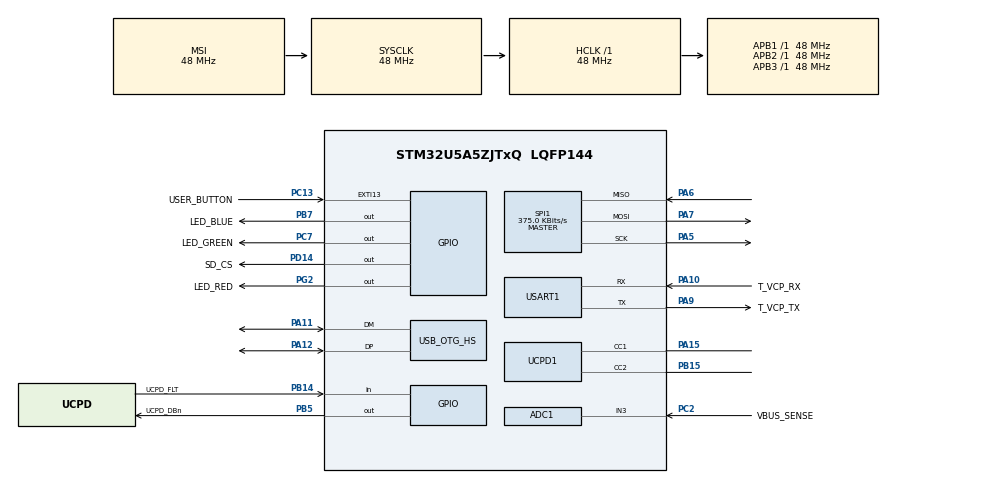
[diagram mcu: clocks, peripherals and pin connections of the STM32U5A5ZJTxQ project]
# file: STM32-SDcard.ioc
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ADC1.Channel-0\#ChannelRegularConversion=ADC_CHANNEL_3
ADC1.ContinuousConvMode=DISABLE
ADC1.EnableAnalogWatchDog1=false
ADC1.GainCompensation=0
ADC1.NbrOfConversionFlag=1
ADC1.OffsetNumber-0\#ChannelRegularConversion=ADC_OFFSET_NONE
ADC1.Rank-0\#ChannelRegularConversion=1
ADC1.Resolution=ADC_RESOLUTION_14B
ADC1.SamplingTime-0\#ChannelRegularConversion=ADC_SAMPLETIME_391CYCLES_5
ADC1.master=1
CORTEX_M33_NS.userName=CORTEX_M33
Mcu.Family=STM32U5
Mcu.Name=STM32U5A5ZJTxQ
Mcu.Package=LQFP144
NVIC.PriorityGroup=NVIC_PRIORITYGROUP_4
PA10.GPIO_Label=T_VCP_RX
PA10.Mode=Asynchronous
PA10.Signal=USART1_RX
PA11.Mode=Internal_Phy_Host
PA11.Signal=USB_OTG_HS_DM
PA12.Mode=Internal_Phy_Host
PA12.Signal=USB_OTG_HS_DP
PA13\ (JTMS/SWDIO).Mode=Trace_Asynchronous_SW
PA13\ (JTMS/SWDIO).Signal=DEBUG_JTMS-SWDIO
PA14\ (JTCK/SWCLK).Mode=Trace_Asynchronous_SW
PA14\ (JTCK/SWCLK).Signal=DEBUG_JTCK-SWCLK
PA15\ (JTDI).Mode=Sink_AllSignals
PA15\ (JTDI).Signal=UCPD1_CC1
PA5.GPIO_PuPd=GPIO_NOPULL
PA5.Mode=Full_Duplex_Master
PA5.Signal=SPI1_SCK
PA6.GPIO_PuPd=GPIO_NOPULL
PA6.Mode=Full_Duplex_Master
PA6.Signal=SPI1_MISO
PA7.GPIO_PuPd=GPIO_NOPULL
PA7.Mode=Full_Duplex_Master
PA7.Signal=SPI1_MOSI
PA9.GPIO_Label=T_VCP_TX
PA9.Mode=Asynchronous
PA9.Signal=USART1_TX
PB14.GPIO_Label=UCPD_FLT
PB14.Signal=GPIO_Input
PB15.Mode=Sink_AllSignals
PB15.Signal=UCPD1_CC2
PB3\ (JTDO/TRACESWO).Mode=Trace_Asynchronous_SW
PB3\ (JTDO/TRACESWO).Signal=DEBUG_JTDO-SWO
PB5.GPIO_Label=UCPD_DBn
PB5.Signal=GPIO_Output
PB7.GPIO_Label=LED_BLUE
PB7.GPIO_ModeDefaultOutputPP=GPIO_MODE_OUTPUT_PP
PB7.PinState=GPIO_PIN_RESET
PB7.Signal=GPIO_Output
PC13.GPIO_Label=USER_BUTTON
PC13.Signal=GPXTI13
PC14-OSC32_IN\ (PC14).Mode=LSE-External-Oscillator
PC14-OSC32_IN\ (PC14).Signal=RCC_OSC32_IN
PC15-OSC32_OUT\ (PC15).Mode=LSE-External-Oscillator
PC15-OSC32_OUT\ (PC15).Signal=RCC_OSC32_OUT
PC2.GPIO_Label=VBUS_SENSE
PC2.Mode=IN3-Single-Ended
PC2.Signal=ADC1_IN3
PC7.GPIO_Label=LED_GREEN
PC7.Signal=GPIO_Output
PD14.GPIO_Label=SD_CS
PD14.GPIO_ModeDefaultOutputPP=GPIO_MODE_OUTPUT_PP
PD14.GPIO_PuPd=GPIO_NOPULL
PD14.GPIO_Speed=GPIO_SPEED_FREQ_LOW
PD14.PinState=GPIO_PIN_SET
PD14.Signal=GPIO_Output
PG2.GPIO_Label=LED_RED
PG2.Signal=GPIO_Output
PH0-OSC_IN\ (PH0).Mode=HSE-External-Oscillator
PH0-OSC_IN\ (PH0).Signal=RCC_OSC_IN
PH1-OSC_OUT\ (PH1).Mode=HSE-External-Oscillator
PH1-OSC_OUT\ (PH1).Signal=RCC_OSC_OUT
PWR.PowerMode=PWR_SMPS_SUPPLY
ProjectManager.HeapSize=0x200
ProjectManager.StackSize=0x400
ProjectManager.TargetToolchain=STM32CubeIDE
RCC.ADCFreq_Value=16000000
RCC.AHBFreq_Value=48000000
RCC.APB1Freq_Value=48000000
RCC.APB1TimFreq_Value=48000000
RCC.APB2Freq_Value=48000000
RCC.APB2TimFreq_Value=48000000
RCC.APB3Freq_Value=48000000
RCC.CortexFreq_Value=48000000
RCC.DACCLockSelectionVirtual=RCC_DAC1CLKSOURCE_LSI
RCC.EPOD_VALUE=48000000
RCC.HCLKFreq_Value=48000000
RCC.HSE_VALUE=16000000
RCC.HSI48_VALUE=48000000
RCC.HSI_VALUE=16000000
RCC.LSIDIV_VALUE=32000
RCC.MSIClockRange=RCC_MSIRANGE_0
RCC.MSI_VALUE=48000000
RCC.PLL1P=8
RCC.PLLFRACN=0
RCC.PLLM=3
RCC.PLLN=8
RCC.SYSCLKFreq_VALUE=48000000
RCC.VCOOutputFreq_Value=128000000
SPI1.BaudRatePrescaler=SPI_BAUDRATEPRESCALER_128
SPI1.CalculateBaudRate=375.0 KBits/s
SPI1.DataSize=SPI_DATASIZE_8BIT
SPI1.Direction=SPI_DIRECTION_2LINES
SPI1.Mode=SPI_MODE_MASTER
SPI1.NSSPMode=SPI_NSS_PULSE_DISABLE
SPI1.VirtualType=VM_MASTER
USART1.VirtualMode-Asynchronous=VM_ASYNC
USB_OTG_HS.VirtualMode=Host_HS
VP_ICACHE_VS_ICACHE.Mode=DirectMappedCache
VP_LPBAMQUEUE_VS_QUEUE.Mode=QUEUEMODE
VP_LPBAM_VS_SIG1.Mode=SmartRun
VP_LPBAM_VS_SIG4.Mode=LPDMA1
VP_MEMORYMAP_VS_MEMORYMAP.Mode=CurAppReg
VP_PWR_VS_DBSignals.Mode=DisableDeadBatterySignals
VP_PWR_VS_LPOM.Mode=PowerOptimisation
VP_PWR_VS_SECSignals.Mode=Security/Privilege
VP_PWR_Vdda.Mode=isolationVdda
board=NUCLEO-U5A5ZJ-Q

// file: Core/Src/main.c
/* USER CODE BEGIN Header */
/**
  ******************************************************************************
  * @file           : main.c
  * @brief          : Main program body
  ******************************************************************************
  * @attention
  *
  * Copyright (c) 2023 STMicroelectronics.
  * All rights reserved.
  *
  * This software is licensed under terms that can be found in the LICENSE file
  * in the root directory of this software component.
  * If no LICENSE file comes with this software, it is provided AS-IS.
  *
  ******************************************************************************
  */
/* USER CODE END Header */
#include "main.h"

/* USER CODE BEGIN Includes */
#include <stdio.h>
#include <string.h>
#include <stdarg.h>
#include <time.h>

#include "fatfs.h"
#include "wav_header.h"
/* USER CODE END Includes */

ADC_HandleTypeDef hadc1;

SPI_HandleTypeDef hspi1;

UART_HandleTypeDef huart1;

HCD_HandleTypeDef hhcd_USB_OTG_HS;

void SystemClock_Config(void);
static void SystemPower_Config(void);
static void MX_GPIO_Init(void);
static void MX_ADC1_Init(void);
static void MX_ICACHE_Init(void);
static void MX_UCPD1_Init(void);
static void MX_USART1_UART_Init(void);
static void MX_USB_OTG_HS_HCD_Init(void);
static void MX_MEMORYMAP_Init(void);
static void MX_SPI1_Init(void);
/* USER CODE BEGIN PFP */
void myprintf(const char *fmt, ...);
void header_to_sd(wav_header* header, FIL* fil, UINT* bw);
/* USER CODE END PFP */

/* USER CODE BEGIN 0 */

#define FILTER true

void myprintf(const char *fmt, ...){
	static char buffer[256];
	va_list args;

	va_start(args, fmt);
	vsnprintf(buffer, sizeof(buffer), fmt, args);
	va_end(args);

	int len= strlen(buffer);
	HAL_UART_Transmit(&huart1, (uint8_t*)buffer, len, -1);
}

void header_to_sd(wav_header* header, FIL* fil, UINT* bw){
	myprintf("start writing header");
	f_write(fil, &header->riff_header, 4, bw);
	f_write(fil, &header->wav_size, 4 , bw);
	f_write(fil, &header->wave_header, 4, bw);
	myprintf("finished RIFF header");
	f_write(fil, &header->fmt_header, 4, bw);
	f_write(fil, &header->fmt_chunk_size, 4 , bw);
	f_write(fil, &header->audio_format, 2 , bw);
	f_write(fil, &header->num_channels, 2 , bw);
	f_write(fil, &header->sample_rate, 4 , bw);
	f_write(fil, &header->byte_rate, 4 , bw);
	f_write(fil, &header->sample_alignment, 2 , bw);
	f_write(fil, &header->bit_depth, 2 , bw);
	f_write(fil, header->data_header, 4, bw);
	f_write(fil, &header->data_bytes, 4 , bw);
	myprintf("Finished writing header");
}

/* USER CODE END 0 */

int main(void)
{
  /* USER CODE BEGIN 1 */
    uint16_t count=0;
	  uint32_t readBuf[50000];
	  uint8_t readBuf_8b[50000];
	  uint16_t readBuf_16b[50000];
	  char filename[256];
	  uint16_t raw;
    char msg[10];
    uint8_t header_size=8;
  /* USER CODE END 1 */

  /* MCU Configuration--------------------------------------------------------*/

  /* Reset of all peripherals, Initializes the Flash interface and the Systick. */
  HAL_Init();

  /* Configure the system clock */
  SystemClock_Config();

  /* Configure the System Power */
  SystemPower_Config();

  /* Initialize all configured peripherals */
  MX_GPIO_Init();
  MX_ADC1_Init();
  MX_ICACHE_Init();
  MX_UCPD1_Init();
  MX_USART1_UART_Init();
  MX_USB_OTG_HS_HCD_Init();
  MX_MEMORYMAP_Init();
  MX_SPI1_Init();
  /* USER CODE BEGIN 2 */
  MX_FATFS_Init();
  myprintf("\r\n~ SD card demo ~\r \n\r\n");
  HAL_Delay(1000);

  FATFS FatFs;
  FIL fil;
  FRESULT fres;

  fres= f_mount(&FatFs, "/", 1);
  if(fres!= FR_OK)
  {
	  myprintf("f_mount error (%i) \r\n", fres);
	  while(1);
  }

  DWORD free_clusters, free_sectors, total_sectors;

  FATFS* getFreeFs;

  fres= f_getfree("", &free_clusters, &getFreeFs);
  if (fres != FR_OK) {
	  myprintf("f_getfree error (%i)\r\n",fres);
	  while(1);
  }

  total_sectors = (getFreeFs->n_fatent - 2) * getFreeFs->csize;
  free_sectors = free_clusters * getFreeFs->csize;

  myprintf("SD card stats:\r\n%10lu KiB total drive space.\r\n%10lu KiB available.\r\n", total_sectors / 2, free_sectors / 2);

  bw_filter filt = create_filter(1000, 27027);

  // fres = f_open(&fil, "/write.txt", FA_READ);
    //   if (fres != FR_OK) {
  	// 	myprintf("f_open error (%i)\r\n");
  	// 	while(1);
    //   }
  //   myprintf("I was able to open 'test.txt' for reading!\r\n");
    //   BYTE readBuf[30];

    //   TCHAR* rres = f_gets((TCHAR*)readBuf, 30, &fil);
      //     if(rres != 0) {
    	//   	myprintf("Read string from 'test.txt' contents: %s\r\n", readBuf);
      //     } else {
    	//   	myprintf("f_gets error (%i)\r\n", fres);
      //     }
  //     f_close(&fil);

	  //   fres = f_open(&fil, "write.txt", FA_WRITE | FA_OPEN_ALWAYS | FA_CREATE_ALWAYS);
	// if(fres == FR_OK) {
	// myprintf("I was able to open 'write.txt' for writing\r\n");
	// } else {
	// myprintf("f_open error (%i)\r\n", fres);
	// }
	// strncpy((char*)readBuf, "a new file is made!", 19);
	  UINT bytesWrote;
	  //   fres = f_write(&fil, readBuf, 19, &bytesWrote);
	  //   if(fres == FR_OK) {
		// 	myprintf("Wrote %i bytes to 'write.txt'!\r\n", bytesWrote);
	  //   } else {
		// 	myprintf("f_write error (%i)\r\n");
	  //   }

	  //   f_close(&fil);

	  //   f_mount(NULL, "", 0);

  /* USER CODE END 2 */

  /* Infinite loop */
  while (1)
  {

    /* USER CODE BEGIN 3 */
    HAL_GPIO_WritePin(GPIOA, GPIO_PIN_10, GPIO_PIN_RESET);
//	  sprintf(msg, "%hu\r\n", raw);
//	  HAL_UART_Transmit(&huart1, (uint8_t*)msg, strlen(msg), HAL_MAX_DELAY);
	  HAL_Delay(1);

    if (count<5) {
	  sprintf(filename, "r_%05d.wav",  count++);
	  fres = f_open(&fil, filename, FA_WRITE | FA_OPEN_ALWAYS | FA_CREATE_ALWAYS);

	  if (fres == FR_OK) {
		  myprintf("I was able to open %s for writing\r\n",filename);
	  } else {
		  myprintf("f_open error (%i)\r\n", fres);
	  }

	  HAL_GPIO_TogglePin(LED_BLUE_GPIO_Port, LED_BLUE_Pin);
	  HAL_Delay(1000);

//	  HAL_ADC_Start(&hadc1);
//	  HAL_ADC_PollForConversion(&hadc1, 1);

	  wav_header header = create_PCM_SC_header_correct(50000);
	  UINT bw;
//	  fres = f_write(&fil, (to_byte_array(header)), 44, &bw);
//	  myprintf("wav_size: %d\r\n", header.wav_size);
//	  myprintf("data_size: %d\r\n", header.data_bytes);
//	  myprintf("data: %x\r\n", header.data_bytes);
//	  myprintf("swapped manual: \r\n%x\r\n", ((header.data_bytes<<24) & 0xff000000) |
//			  ((header.data_bytes<<8) & 0x00ff0000) |
//			  ((header.data_bytes>>8) & 0x0000ff00) |
//			((header.data_bytes>>24) & 0x000000ff) );
//	  uint32_t swapped = endian_swap_32_ret(header.data_bytes);
	  myprintf("fmt_chunk_size: %d\r\n", header.fmt_chunk_size);
	  myprintf("fmt_chunk_size: %x\r\n", header.fmt_chunk_size);

//	  endian_swap(&swapped, header.data_bytes);
//	  myprintf("data_size swapped: %d\r\n", swapped);
//	  myprintf("data_size swapped hex: %x\r\n", swapped);
	  header_to_sd(&header, &fil, &bw);

//	  char h[37];
//	  sprintf(h, ((char*) &header), sizeof(header));
//	  h[37] = 0x00;
//	  myprintf("Header, size: %d, cont: %s\r\n", h);

	  uint32_t start = HAL_GetTick();
	  myprintf("Clock at start: %d \r\n", start);
	  for (int i=0; i<50000; i++) { // Used to be i+=2. Changed it to i+=1. Also increased size from 5 to 25000, changed buffer to 32 bit
//		endian_swap(&(readBuf[i]), HAL_ADC_GetValue(&hadc1));
		HAL_ADC_Start(&hadc1);
		HAL_ADC_PollForConversion(&hadc1, HAL_MAX_DELAY);
#if FILTER
		readBuf_16b[i] = filter(filt, (HAL_ADC_GetValue(&hadc1) & 0x0000ffff));
#else
		readBuf_16b[i] = (HAL_ADC_GetValue(&hadc1) & 0x0000ffff);
#endif
//		for (int i = 1; i < 22; i++) {
//			HAL_ADC_GetValue(&hadc1);
//		}
	  }
	  uint32_t end = HAL_GetTick();

	  myprintf("Clock at end: %d\r\n", end);
	  myprintf("Record time: %d ms\r\n", (end - start));

	  myprintf("First value: %x", readBuf_16b[0]);

	  fres = f_write(&fil,&readBuf_16b, 50000 * 2, &bytesWrote);
	  count++;

	  if(fres == FR_OK) {
			myprintf("written to file\r\n");
	  } else {
			myprintf("f_write error (%i)\r\n");
	  }

	  f_close(&fil);
	  }
  }
  /* USER CODE END 3 */
}

void SystemClock_Config(void)
{
  RCC_OscInitTypeDef RCC_OscInitStruct = {0};
  RCC_ClkInitTypeDef RCC_ClkInitStruct = {0};

  /** Configure the main internal regulator output voltage
  */
  if (HAL_PWREx_ControlVoltageScaling(PWR_REGULATOR_VOLTAGE_SCALE3) != HAL_OK)
  {
    Error_Handler();
  }

  /** Initializes the CPU, AHB and APB buses clocks
  */
  RCC_OscInitStruct.OscillatorType = RCC_OSCILLATORTYPE_HSI|RCC_OSCILLATORTYPE_MSI;
  RCC_OscInitStruct.HSIState = RCC_HSI_ON;
  RCC_OscInitStruct.HSICalibrationValue = RCC_HSICALIBRATION_DEFAULT;
  RCC_OscInitStruct.MSIState = RCC_MSI_ON;
  RCC_OscInitStruct.MSICalibrationValue = RCC_MSICALIBRATION_DEFAULT;
  RCC_OscInitStruct.MSIClockRange = RCC_MSIRANGE_0;
  RCC_OscInitStruct.PLL.PLLState = RCC_PLL_ON;
  RCC_OscInitStruct.PLL.PLLSource = RCC_PLLSOURCE_MSI;
  RCC_OscInitStruct.PLL.PLLMBOOST = RCC_PLLMBOOST_DIV4;
  RCC_OscInitStruct.PLL.PLLM = 3;
  RCC_OscInitStruct.PLL.PLLN = 8;
  RCC_OscInitStruct.PLL.PLLP = 8;
  RCC_OscInitStruct.PLL.PLLQ = 2;
  RCC_OscInitStruct.PLL.PLLR = 2;
  RCC_OscInitStruct.PLL.PLLRGE = RCC_PLLVCIRANGE_1;
  RCC_OscInitStruct.PLL.PLLFRACN = 0;
  if (HAL_RCC_OscConfig(&RCC_OscInitStruct) != HAL_OK)
  {
    Error_Handler();
  }

  /** Initializes the CPU, AHB and APB buses clocks
  */
  RCC_ClkInitStruct.ClockType = RCC_CLOCKTYPE_HCLK|RCC_CLOCKTYPE_SYSCLK
                              |RCC_CLOCKTYPE_PCLK1|RCC_CLOCKTYPE_PCLK2
                              |RCC_CLOCKTYPE_PCLK3;
  RCC_ClkInitStruct.SYSCLKSource = RCC_SYSCLKSOURCE_MSI;
  RCC_ClkInitStruct.AHBCLKDivider = RCC_SYSCLK_DIV1;
  RCC_ClkInitStruct.APB1CLKDivider = RCC_HCLK_DIV1;
  RCC_ClkInitStruct.APB2CLKDivider = RCC_HCLK_DIV1;
  RCC_ClkInitStruct.APB3CLKDivider = RCC_HCLK_DIV1;

  if (HAL_RCC_ClockConfig(&RCC_ClkInitStruct, FLASH_LATENCY_1) != HAL_OK)
  {
    Error_Handler();
  }
}

/**
  * @brief Power Configuration
  * @retval None
  */
static void SystemPower_Config(void)
{
  HAL_PWREx_EnableVddIO2();

  /*
   * Switch to SMPS regulator instead of LDO
   */
  if (HAL_PWREx_ConfigSupply(PWR_SMPS_SUPPLY) != HAL_OK)
  {
    Error_Handler();
  }
}

static void MX_ADC1_Init(void)
{

  ADC_ChannelConfTypeDef sConfig = {0};

  /** Common config
  */
  hadc1.Instance = ADC1;
  hadc1.Init.ClockPrescaler = ADC_CLOCK_ASYNC_DIV1;
  hadc1.Init.Resolution = ADC_RESOLUTION_14B;
  hadc1.Init.GainCompensation = 0;
  hadc1.Init.DataAlign = ADC_DATAALIGN_RIGHT;
  hadc1.Init.ScanConvMode = ADC_SCAN_DISABLE;
  hadc1.Init.EOCSelection = ADC_EOC_SINGLE_CONV;
  hadc1.Init.LowPowerAutoWait = DISABLE;
  hadc1.Init.ContinuousConvMode = DISABLE;
  hadc1.Init.NbrOfConversion = 1;
  hadc1.Init.DiscontinuousConvMode = DISABLE;
  hadc1.Init.ExternalTrigConv = ADC_SOFTWARE_START;
  hadc1.Init.ExternalTrigConvEdge = ADC_EXTERNALTRIGCONVEDGE_NONE;
  hadc1.Init.DMAContinuousRequests = DISABLE;
  hadc1.Init.TriggerFrequencyMode = ADC_TRIGGER_FREQ_HIGH;
  hadc1.Init.Overrun = ADC_OVR_DATA_PRESERVED;
  hadc1.Init.LeftBitShift = ADC_LEFTBITSHIFT_NONE;
  hadc1.Init.ConversionDataManagement = ADC_CONVERSIONDATA_DR;
  hadc1.Init.OversamplingMode = DISABLE;
  if (HAL_ADC_Init(&hadc1) != HAL_OK)
  {
    Error_Handler();
  }

  /** Configure Regular Channel
  */
  sConfig.Channel = ADC_CHANNEL_3;
  sConfig.Rank = ADC_REGULAR_RANK_1;
  sConfig.SamplingTime = ADC_SAMPLETIME_391CYCLES_5;
  sConfig.SingleDiff = ADC_SINGLE_ENDED;
  sConfig.OffsetNumber = ADC_OFFSET_NONE;
  sConfig.Offset = 0;
  if (HAL_ADC_ConfigChannel(&hadc1, &sConfig) != HAL_OK)
  {
    Error_Handler();
  }

}

static void MX_ICACHE_Init(void)
{

  /** Enable instruction cache in 1-way (direct mapped cache)
  */
  if (HAL_ICACHE_ConfigAssociativityMode(ICACHE_1WAY) != HAL_OK)
  {
    Error_Handler();
  }
  if (HAL_ICACHE_Enable() != HAL_OK)
  {
    Error_Handler();
  }

}

static void MX_MEMORYMAP_Init(void)
{

}

static void MX_SPI1_Init(void)
{

  SPI_AutonomousModeConfTypeDef HAL_SPI_AutonomousMode_Cfg_Struct = {0};

  /* SPI1 parameter configuration*/
  hspi1.Instance = SPI1;
  hspi1.Init.Mode = SPI_MODE_MASTER;
  hspi1.Init.Direction = SPI_DIRECTION_2LINES;
  hspi1.Init.DataSize = SPI_DATASIZE_8BIT;
  hspi1.Init.CLKPolarity = SPI_POLARITY_LOW;
  hspi1.Init.CLKPhase = SPI_PHASE_1EDGE;
  hspi1.Init.NSS = SPI_NSS_SOFT;
  hspi1.Init.BaudRatePrescaler = SPI_BAUDRATEPRESCALER_128;
  hspi1.Init.FirstBit = SPI_FIRSTBIT_MSB;
  hspi1.Init.TIMode = SPI_TIMODE_DISABLE;
  hspi1.Init.CRCCalculation = SPI_CRCCALCULATION_DISABLE;
  hspi1.Init.CRCPolynomial = 0x7;
  hspi1.Init.NSSPMode = SPI_NSS_PULSE_DISABLE;
  hspi1.Init.NSSPolarity = SPI_NSS_POLARITY_LOW;
  hspi1.Init.FifoThreshold = SPI_FIFO_THRESHOLD_01DATA;
  hspi1.Init.MasterSSIdleness = SPI_MASTER_SS_IDLENESS_00CYCLE;
  hspi1.Init.MasterInterDataIdleness = SPI_MASTER_INTERDATA_IDLENESS_00CYCLE;
  hspi1.Init.MasterReceiverAutoSusp = SPI_MASTER_RX_AUTOSUSP_DISABLE;
  hspi1.Init.MasterKeepIOState = SPI_MASTER_KEEP_IO_STATE_DISABLE;
  hspi1.Init.IOSwap = SPI_IO_SWAP_DISABLE;
  hspi1.Init.ReadyMasterManagement = SPI_RDY_MASTER_MANAGEMENT_INTERNALLY;
  hspi1.Init.ReadyPolarity = SPI_RDY_POLARITY_HIGH;
  if (HAL_SPI_Init(&hspi1) != HAL_OK)
  {
    Error_Handler();
  }
  HAL_SPI_AutonomousMode_Cfg_Struct.TriggerState = SPI_AUTO_MODE_DISABLE;
  HAL_SPI_AutonomousMode_Cfg_Struct.TriggerSelection = SPI_GRP1_GPDMA_CH0_TCF_TRG;
  HAL_SPI_AutonomousMode_Cfg_Struct.TriggerPolarity = SPI_TRIG_POLARITY_RISING;
  if (HAL_SPIEx_SetConfigAutonomousMode(&hspi1, &HAL_SPI_AutonomousMode_Cfg_Struct) != HAL_OK)
  {
    Error_Handler();
  }

}

static void MX_UCPD1_Init(void)
{

  LL_GPIO_InitTypeDef GPIO_InitStruct = {0};

  /* Peripheral clock enable */
  LL_APB1_GRP2_EnableClock(LL_APB1_GRP2_PERIPH_UCPD1);

  LL_AHB2_GRP1_EnableClock(LL_AHB2_GRP1_PERIPH_GPIOB);
  LL_AHB2_GRP1_EnableClock(LL_AHB2_GRP1_PERIPH_GPIOA);
  /**UCPD1 GPIO Configuration
  PB15   ------> UCPD1_CC2
  PA15 (JTDI)   ------> UCPD1_CC1
  */
  GPIO_InitStruct.Pin = LL_GPIO_PIN_15;
  GPIO_InitStruct.Mode = LL_GPIO_MODE_ANALOG;
  GPIO_InitStruct.Pull = LL_GPIO_PULL_NO;
  LL_GPIO_Init(GPIOB, &GPIO_InitStruct);

  GPIO_InitStruct.Pin = LL_GPIO_PIN_15;
  GPIO_InitStruct.Mode = LL_GPIO_MODE_ANALOG;
  GPIO_InitStruct.Pull = LL_GPIO_PULL_NO;
  LL_GPIO_Init(GPIOA, &GPIO_InitStruct);

}

static void MX_USART1_UART_Init(void)
{

  huart1.Instance = USART1;
  huart1.Init.BaudRate = 115200;
  huart1.Init.WordLength = UART_WORDLENGTH_8B;
  huart1.Init.StopBits = UART_STOPBITS_1;
  huart1.Init.Parity = UART_PARITY_NONE;
  huart1.Init.Mode = UART_MODE_TX_RX;
  huart1.Init.HwFlowCtl = UART_HWCONTROL_NONE;
  huart1.Init.OverSampling = UART_OVERSAMPLING_16;
  huart1.Init.OneBitSampling = UART_ONE_BIT_SAMPLE_DISABLE;
  huart1.Init.ClockPrescaler = UART_PRESCALER_DIV1;
  huart1.AdvancedInit.AdvFeatureInit = UART_ADVFEATURE_NO_INIT;
  if (HAL_UART_Init(&huart1) != HAL_OK)
  {
    Error_Handler();
  }
  if (HAL_UARTEx_SetTxFifoThreshold(&huart1, UART_TXFIFO_THRESHOLD_1_8) != HAL_OK)
  {
    Error_Handler();
  }
  if (HAL_UARTEx_SetRxFifoThreshold(&huart1, UART_RXFIFO_THRESHOLD_1_8) != HAL_OK)
  {
    Error_Handler();
  }
  if (HAL_UARTEx_DisableFifoMode(&huart1) != HAL_OK)
  {
    Error_Handler();
  }

}

static void MX_USB_OTG_HS_HCD_Init(void)
{

  hhcd_USB_OTG_HS.Instance = USB_OTG_HS;
  hhcd_USB_OTG_HS.Init.Host_channels = 16;
  hhcd_USB_OTG_HS.Init.speed = HCD_SPEED_HIGH;
  hhcd_USB_OTG_HS.Init.dma_enable = DISABLE;
  hhcd_USB_OTG_HS.Init.phy_itface = USB_OTG_HS_EMBEDDED_PHY;
  hhcd_USB_OTG_HS.Init.Sof_enable = DISABLE;
  hhcd_USB_OTG_HS.Init.low_power_enable = DISABLE;
  hhcd_USB_OTG_HS.Init.use_external_vbus = ENABLE;
  if (HAL_HCD_Init(&hhcd_USB_OTG_HS) != HAL_OK)
  {
    Error_Handler();
  }

}

static void MX_GPIO_Init(void)
{
  GPIO_InitTypeDef GPIO_InitStruct = {0};

  /* GPIO Ports Clock Enable */
  __HAL_RCC_GPIOC_CLK_ENABLE();
  __HAL_RCC_GPIOH_CLK_ENABLE();
  __HAL_RCC_GPIOA_CLK_ENABLE();
  __HAL_RCC_GPIOB_CLK_ENABLE();
  __HAL_RCC_GPIOD_CLK_ENABLE();
  __HAL_RCC_GPIOG_CLK_ENABLE();

  /*Configure GPIO pin Output Level */
  HAL_GPIO_WritePin(SD_CS_GPIO_Port, SD_CS_Pin, GPIO_PIN_SET);

  /*Configure GPIO pin Output Level */
  HAL_GPIO_WritePin(LED_RED_GPIO_Port, LED_RED_Pin, GPIO_PIN_RESET);

  /*Configure GPIO pin Output Level */
  HAL_GPIO_WritePin(LED_GREEN_GPIO_Port, LED_GREEN_Pin, GPIO_PIN_RESET);

  /*Configure GPIO pin Output Level */
  HAL_GPIO_WritePin(GPIOB, UCPD_DBn_Pin|LED_BLUE_Pin, GPIO_PIN_RESET);

  /*Configure GPIO pin : USER_BUTTON_Pin */
  GPIO_InitStruct.Pin = USER_BUTTON_Pin;
  GPIO_InitStruct.Mode = GPIO_MODE_IT_RISING;
  GPIO_InitStruct.Pull = GPIO_NOPULL;
  HAL_GPIO_Init(USER_BUTTON_GPIO_Port, &GPIO_InitStruct);

  /*Configure GPIO pin : UCPD_FLT_Pin */
  GPIO_InitStruct.Pin = UCPD_FLT_Pin;
  GPIO_InitStruct.Mode = GPIO_MODE_INPUT;
  GPIO_InitStruct.Pull = GPIO_NOPULL;
  HAL_GPIO_Init(UCPD_FLT_GPIO_Port, &GPIO_InitStruct);

  /*Configure GPIO pin : SD_CS_Pin */
  GPIO_InitStruct.Pin = SD_CS_Pin;
  GPIO_InitStruct.Mode = GPIO_MODE_OUTPUT_PP;
  GPIO_InitStruct.Pull = GPIO_NOPULL;
  GPIO_InitStruct.Speed = GPIO_SPEED_FREQ_LOW;
  HAL_GPIO_Init(SD_CS_GPIO_Port, &GPIO_InitStruct);

  /*Configure GPIO pin : LED_RED_Pin */
  GPIO_InitStruct.Pin = LED_RED_Pin;
  GPIO_InitStruct.Mode = GPIO_MODE_OUTPUT_PP;
  GPIO_InitStruct.Pull = GPIO_NOPULL;
  GPIO_InitStruct.Speed = GPIO_SPEED_FREQ_LOW;
  HAL_GPIO_Init(LED_RED_GPIO_Port, &GPIO_InitStruct);

  /*Configure GPIO pin : LED_GREEN_Pin */
  GPIO_InitStruct.Pin = LED_GREEN_Pin;
  GPIO_InitStruct.Mode = GPIO_MODE_OUTPUT_PP;
  GPIO_InitStruct.Pull = GPIO_NOPULL;
  GPIO_InitStruct.Speed = GPIO_SPEED_FREQ_LOW;
  HAL_GPIO_Init(LED_GREEN_GPIO_Port, &GPIO_InitStruct);

  /*Configure GPIO pins : UCPD_DBn_Pin LED_BLUE_Pin */
  GPIO_InitStruct.Pin = UCPD_DBn_Pin|LED_BLUE_Pin;
  GPIO_InitStruct.Mode = GPIO_MODE_OUTPUT_PP;
  GPIO_InitStruct.Pull = GPIO_NOPULL;
  GPIO_InitStruct.Speed = GPIO_SPEED_FREQ_LOW;
  HAL_GPIO_Init(GPIOB, &GPIO_InitStruct);

}

void Error_Handler(void)
{
  __disable_irq();
  while (1)
  {
  }
}
